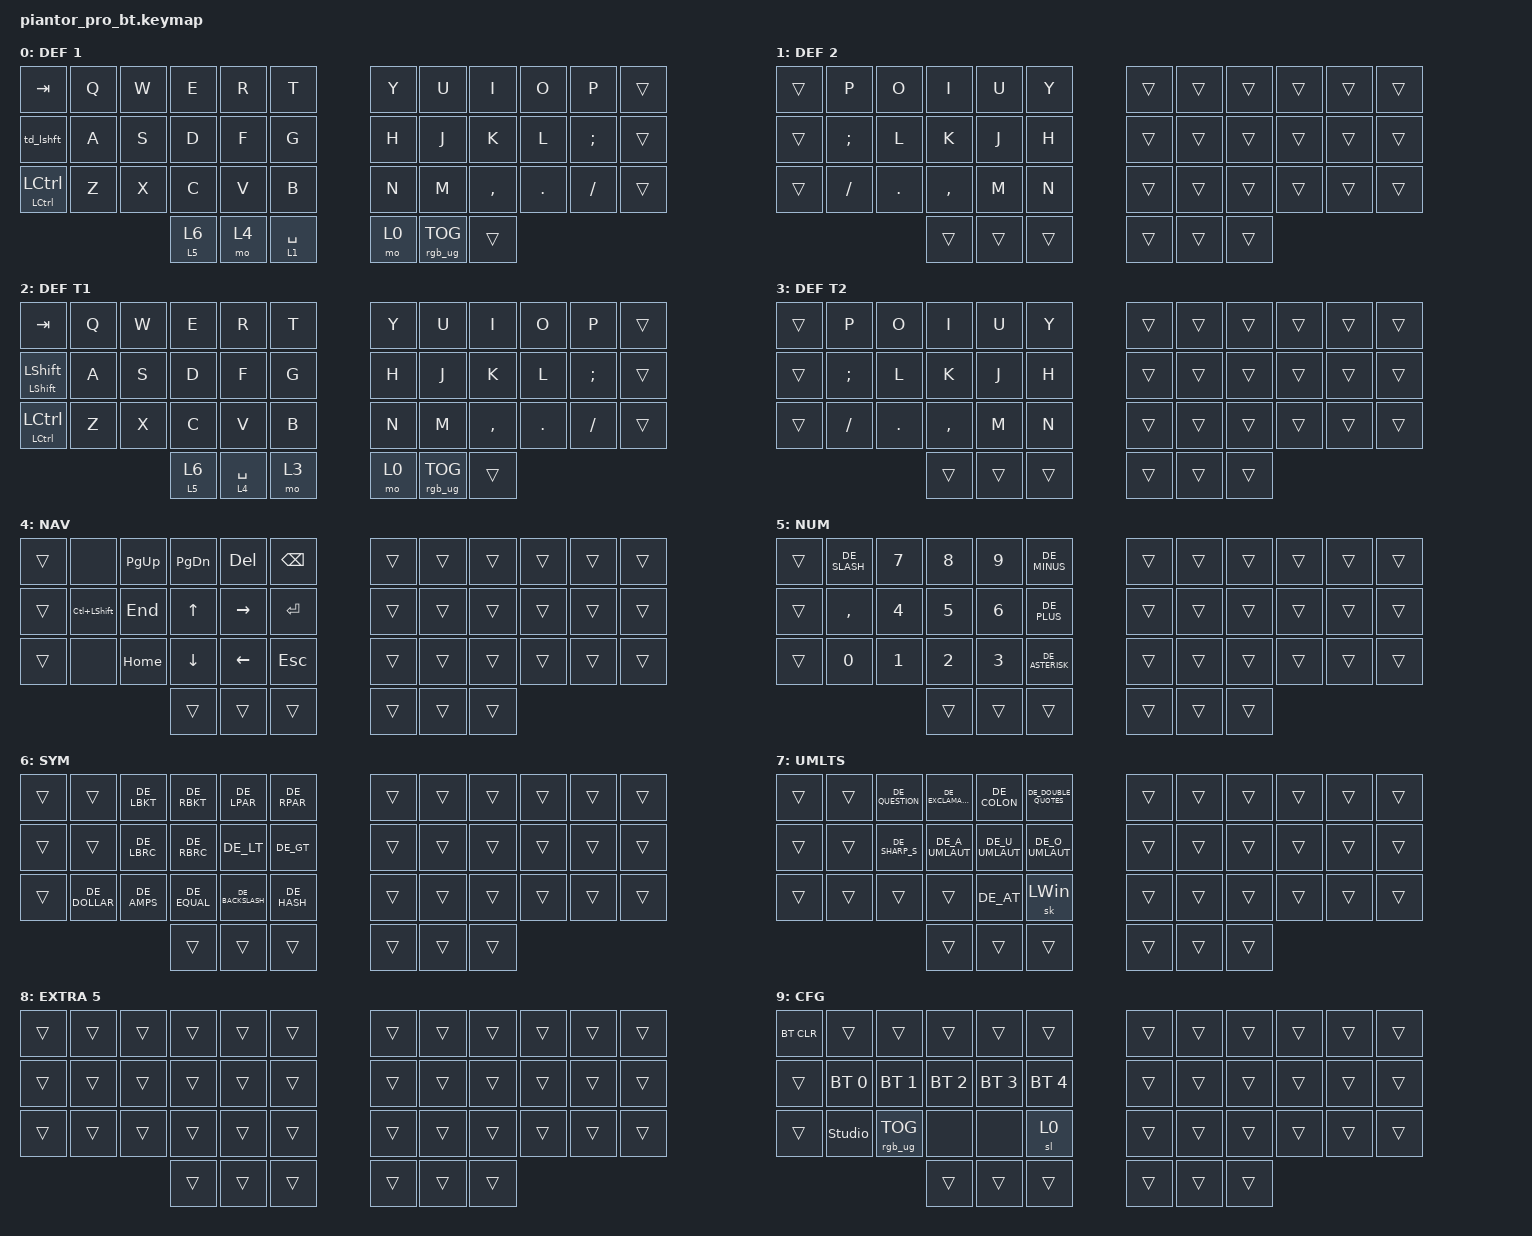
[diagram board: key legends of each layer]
/*
 * Copyright (c) 2020 The ZMK Contributors
 *
 * SPDX-License-Identifier: MIT
 */

#include <behaviors.dtsi>
#include <dt-bindings/zmk/bt.h>
#include <dt-bindings/zmk/keys.h>
#include <dt-bindings/zmk/rgb.h>
#include "keys_de.h"


/ {
    chosen { zmk,physical-layout = &default_layout; };
};

/ {
    behaviors {
        td_q_p: tap_dance_q_p {
            compatible = "zmk,behavior-tap-dance";
            #binding-cells = <0>;
            tapping-term-ms = <400>;
            bindings = <&kp Q>, <&kp P>;
        };

        td_w_o: tap_dance_w_o {
            compatible = "zmk,behavior-tap-dance";
            #binding-cells = <0>;
            tapping-term-ms = <400>;
            bindings = <&kp W>, <&kp O>;
        };

        td_e_i: tap_dance_e_i {
            compatible = "zmk,behavior-tap-dance";
            #binding-cells = <0>;
            tapping-term-ms = <400>;
            bindings = <&kp E>, <&kp I>;
        };

        td_r_u: tap_dance_r_u {
            compatible = "zmk,behavior-tap-dance";
            #binding-cells = <0>;
            tapping-term-ms = <400>;
            bindings = <&kp R>, <&kp U>;
        };

        td_t_y: tap_dance_t_y {
            compatible = "zmk,behavior-tap-dance";
            #binding-cells = <0>;
            tapping-term-ms = <400>;
            bindings = <&kp T>, <&kp Y>;
        };

        td_a_smi: tap_dance_a_semi {
            compatible = "zmk,behavior-tap-dance";
            #binding-cells = <0>;
            tapping-term-ms = <400>;
            bindings = <&kp A>, <&kp SEMI>;
        };

        td_s_l: tap_dance_s_l {
            compatible = "zmk,behavior-tap-dance";
            #binding-cells = <0>;
            tapping-term-ms = <400>;
            bindings = <&kp S>, <&kp L>;
        };

        td_d_k: tap_dance_d_k {
            compatible = "zmk,behavior-tap-dance";
            #binding-cells = <0>;
            tapping-term-ms = <400>;
            bindings = <&kp D>, <&kp K>;
        };

        td_f_j: tap_dance_f_j {
            compatible = "zmk,behavior-tap-dance";
            #binding-cells = <0>;
            tapping-term-ms = <400>;
            bindings = <&kp F>, <&kp J>;
        };

        td_g_h: tap_dance_g_h {
            compatible = "zmk,behavior-tap-dance";
            #binding-cells = <0>;
            tapping-term-ms = <400>;
            bindings = <&kp G>, <&kp H>;
        };

        td_z_fsl: tap_dance_z_fslh {
            compatible = "zmk,behavior-tap-dance";
            #binding-cells = <0>;
            tapping-term-ms = <400>;
            bindings = <&kp Z>, <&kp FSLH>;
        };

        td_x_dot: tap_dance_x_dot {
            compatible = "zmk,behavior-tap-dance";
            #binding-cells = <0>;
            tapping-term-ms = <400>;
            bindings = <&kp X>, <&kp DOT>;
        };

        td_c_cma: tap_dance_c_comma {
            compatible = "zmk,behavior-tap-dance";
            #binding-cells = <0>;
            tapping-term-ms = <400>;
            bindings = <&kp C>, <&kp COMMA>;
        };

        td_v_m: tap_dance_v_m {
            compatible = "zmk,behavior-tap-dance";
            #binding-cells = <0>;
            tapping-term-ms = <400>;
            bindings = <&kp V>, <&kp M>;
        };

        td_b_n: tap_dance_b_n {
            compatible = "zmk,behavior-tap-dance";
            #binding-cells = <0>;
            tapping-term-ms = <400>;
            bindings = <&kp B>, <&kp N>;
        };

        td_mo1_mo2: tap_dance_mod_select {
            compatible = "zmk,behavior-tap-dance";
            #binding-cells = <0>;
            tapping-term-ms = <400>;
            bindings = <&mo 1>, <&mo 2>;
        };

        td_spc_ent: tap_dance_space_enter {
            compatible = "zmk,behavior-tap-dance";
            #binding-cells = <0>;
            tapping-term-ms = <400>;
            bindings = <&kp SPACE>, <&kp RET>;
        };

        lt_non: layer_tap_none {
            compatible = "zmk,behavior-hold-tap";
            #binding-cells = <2>;
            flavor = "tap-preferred";
            tapping-term-ms = <200>;
            bindings = <&mo>, <&none>;
        };

        lt_rep: layer_tap_key_repeat {
            compatible = "zmk,behavior-hold-tap";
            #binding-cells = <2>;
            flavor = "tap-preferred";
            tapping-term-ms = <200>;
            bindings = <&mo>, <&key_repeat>;
        };

        lt_umlts: lt_umlts {
            compatible = "zmk,behavior-hold-tap";
            #binding-cells = <2>;
            flavor = "tap-preferred";
            tapping-term-ms = <250>;
            bindings = <&mo>, <&td_a_smi>;
        };

        mt_umlts: mt_umlts {
            compatible = "zmk,behavior-hold-tap";
            #binding-cells = <2>;
            flavor = "tap-preferred";
            tapping-term-ms = <180>;
            quick-tap-ms = <175>;
            require-prior-idle-ms = <150>;
            retro-tap;
            bindings = <&mo>, <&kp>;
        };

        st_l: st_l {
            compatible = "zmk,behavior-hold-tap";
            #binding-cells = <2>;
            flavor = "tap-preferred";
            tapping-term-ms = <200>;
            bindings = <&mo>, <&sl>;
        };

        sk_lng: sk_long {
            compatible = "zmk,behavior-sticky-key";
            bindings = <&kp>;
            #binding-cells = <1>;
            ignore-modifiers;
            release-after-ms = <2000>;
        };

        st: st {
            compatible = "zmk,behavior-hold-tap";
            #binding-cells = <2>;
            flavor = "tap-preferred";
            tapping-term-ms = <250>;
            bindings = <&kp>, <&sk_lng>;
        };

        sk_qr: sticky_key_quick_release {
        compatible = "zmk,behavior-sticky-key";
        #binding-cells = <1>;
        quick-release;
        release-after-ms = <2000>;
        bindings = <&kp>;
      };

        td_lshft: tap_dance_left_shift {
            compatible = "zmk,behavior-tap-dance";
            #binding-cells = <0>;
            tapping-term-ms = <400>;
            bindings = <&sk_qr LSHIFT>, <&caps_word>;
        };
    };

    combos {
        compatible = "zmk,combos";

        cfg_combo {
            bindings = <&sl 9>;
            key-positions = <2 3 4>;
        };

        Toggle_Default {
            bindings = <&tog 2>;
            key-positions = <36 38>;
        };

        // --- Umlaute & Sonderzeichen per Combo (ersetzen den alten A-Hold-Layer) ---
        // Nur auf den Basis-Layern 0 (DEF 1) und 2 (DEF T1) aktiv, damit sie NUM/SYM/NAV nicht stoeren.
        // timeout-ms=50: nur echtes Gleichzeitig-Druecken loest aus, normale Roll-Tippbewegungen nicht.
        combo_ae {   // ä  = S+D
            bindings = <&kp DE_A_UMLAUT>;
            key-positions = <14 15>;
            timeout-ms = <50>;
            layers = <0 2>;
        };
        combo_oe {   // ö  = D+F
            bindings = <&kp DE_O_UMLAUT>;
            key-positions = <15 16>;
            timeout-ms = <50>;
            layers = <0 2>;
        };
        combo_ue {   // ü  = F+G
            bindings = <&kp DE_U_UMLAUT>;
            key-positions = <16 17>;
            timeout-ms = <50>;
            layers = <0 2>;
        };
        combo_ss {   // ß  = X+C
            bindings = <&kp DE_SHARP_S>;
            key-positions = <26 27>;
            timeout-ms = <50>;
            layers = <0 2>;
        };
        combo_excl { // !  = H+J
            bindings = <&kp DE_EXCLAMATION>;
            key-positions = <18 19>;
            timeout-ms = <50>;
            layers = <0 2>;
        };
        combo_ques { // ?  = J+K
            bindings = <&kp DE_QUESTION>;
            key-positions = <19 20>;
            timeout-ms = <50>;
            layers = <0 2>;
        };
        combo_dquote { // "  = J+L
            bindings = <&kp DE_DOUBLE_QUOTES>;
            key-positions = <19 21>;
            timeout-ms = <50>;
            layers = <0 2>;
        };
        combo_colon { // :  = L+;
            bindings = <&kp DE_COLON>;
            key-positions = <21 22>;
            timeout-ms = <50>;
            layers = <0 2>;
        };
        combo_at {   // @  = H+K
            bindings = <&kp DE_AT>;
            key-positions = <18 20>;
            timeout-ms = <50>;
            layers = <0 2>;
        };
    };

    keymap {
        compatible = "zmk,keymap";

        default_layer_1 {
            display-name = "DEF 1";
            bindings = <
&kp TAB            &kp Q          &kp W  &kp E      &kp R  &kp T            &kp Y  &kp U            &kp I      &kp O    &kp P     &trans
&td_lshft          &kp A          &kp S  &kp D      &kp F  &kp G            &kp H  &kp J            &kp K      &kp L    &kp SEMI  &trans
&st LCTRL LCTRL    &kp Z          &kp X  &kp C      &kp V  &kp B            &kp N  &kp M            &kp COMMA  &kp DOT  &kp FSLH  &trans
                                         &st_l 5 6  &mo 4  &lt 1 SPACE      &mo 0  &rgb_ug RGB_TOG  &trans
            >;
        };

        default_layer_2 {
            display-name = "DEF 2";
            bindings = <
&trans  &kp P     &kp O    &kp I      &kp U   &kp Y       &trans  &trans  &trans  &trans  &trans  &trans
&trans  &kp SEMI  &kp L    &kp K      &kp J   &kp H       &trans  &trans  &trans  &trans  &trans  &trans
&trans  &kp FSLH  &kp DOT  &kp COMMA  &kp M   &kp N       &trans  &trans  &trans  &trans  &trans  &trans
                           &trans     &trans  &trans      &trans  &trans  &trans
            >;
        };

        default_layer_t1 {
            display-name = "DEF T1";
            bindings = <
&kp TAB            &kp Q          &kp W  &kp E      &kp R        &kp T      &kp Y  &kp U            &kp I      &kp O    &kp P     &trans  
&st LSHIFT LSHIFT  &kp A          &kp S  &kp D      &kp F        &kp G      &kp H  &kp J            &kp K      &kp L    &kp SEMI  &trans
&st LCTRL LCTRL    &kp Z          &kp X  &kp C      &kp V        &kp B      &kp N  &kp M            &kp COMMA  &kp DOT  &kp FSLH  &trans  
                                         &st_l 5 6  &lt 4 SPACE  &mo 3      &mo 0  &rgb_ug RGB_TOG  &trans
            >;
        };

        default_layer_t2 {
            display-name = "DEF T2";
            bindings = <
&trans  &kp P     &kp O    &kp I      &kp U   &kp Y       &trans  &trans  &trans  &trans  &trans  &trans
&trans  &kp SEMI  &kp L    &kp K      &kp J   &kp H       &trans  &trans  &trans  &trans  &trans  &trans
&trans  &kp FSLH  &kp DOT  &kp COMMA  &kp M   &kp N       &trans  &trans  &trans  &trans  &trans  &trans
                           &trans     &trans  &trans      &trans  &trans  &trans
            >;
        };

        nav_layer {
            display-name = "NAV";
            bindings = <
&trans  &none               &kp PG_UP  &kp PG_DN  &kp DELETE  &kp BACKSPACE      &trans  &trans  &trans  &trans  &trans  &trans
&trans  &kp LC(LEFT_SHIFT)  &kp END    &kp UP     &kp RIGHT   &kp ENTER          &trans  &trans  &trans  &trans  &trans  &trans
&trans  &none               &kp HOME   &kp DOWN   &kp LEFT    &kp ESCAPE         &trans  &trans  &trans  &trans  &trans  &trans
                                       &trans     &trans      &trans             &trans  &trans  &trans
            >;
        };

        number_layer {
            display-name = "NUM";
            bindings = <
&trans  &kp DE_SLASH  &kp N7  &kp N8  &kp N9  &kp DE_MINUS         &trans  &trans  &trans  &trans  &trans  &trans
&trans  &kp COMMA     &kp N4  &kp N5  &kp N6  &kp DE_PLUS          &trans  &trans  &trans  &trans  &trans  &trans
&trans  &kp N0        &kp N1  &kp N2  &kp N3  &kp DE_ASTERISK      &trans  &trans  &trans  &trans  &trans  &trans
                              &trans  &trans  &trans               &trans  &trans  &trans
            >;
        };

        symbol_layer {
            display-name = "SYM";
            bindings = <
&trans  &trans         &kp DE_LBKT  &kp DE_RBKT   &kp DE_LPAR       &kp DE_RPAR      &trans  &trans  &trans  &trans  &trans  &trans
&trans  &trans         &kp DE_LBRC  &kp DE_RBRC   &kp DE_LT         &kp DE_GT        &trans  &trans  &trans  &trans  &trans  &trans
&trans  &kp DE_DOLLAR  &kp DE_AMPS  &kp DE_EQUAL  &kp DE_BACKSLASH  &kp DE_HASH      &trans  &trans  &trans  &trans  &trans  &trans
                                    &trans        &trans            &trans           &trans  &trans  &trans
            >;
        };

        umlauts_layer {
            display-name = "UMLTS";
            bindings = <
&trans  &trans  &kp DE_QUESTION  &kp DE_EXCLAMATION  &kp DE_COLON     &kp DE_DOUBLE_QUOTES      &trans  &trans  &trans  &trans  &trans  &trans  
&trans  &trans  &kp DE_SHARP_S   &kp DE_A_UMLAUT     &kp DE_U_UMLAUT  &kp DE_O_UMLAUT           &trans  &trans  &trans  &trans  &trans  &trans
&trans  &trans  &trans           &trans              &kp DE_AT        &sk LEFT_WIN              &trans  &trans  &trans  &trans  &trans  &trans
                                 &trans              &trans           &trans                    &trans  &trans  &trans
            >;
        };

        extra_layer_5 {
            display-name = "EXTRA 5";
            bindings = <
&trans  &trans  &trans  &trans  &trans  &trans      &trans  &trans  &trans  &trans  &trans  &trans
&trans  &trans  &trans  &trans  &trans  &trans      &trans  &trans  &trans  &trans  &trans  &trans
&trans  &trans  &trans  &trans  &trans  &trans      &trans  &trans  &trans  &trans  &trans  &trans
                        &trans  &trans  &trans      &trans  &trans  &trans
            >;
        };

        config_layer {
            display-name = "CFG";
            bindings = <
&bt BT_CLR  &trans          &trans           &trans        &trans        &trans            &trans  &trans  &trans  &trans  &trans  &trans
&trans      &bt BT_SEL 0    &bt BT_SEL 1     &bt BT_SEL 2  &bt BT_SEL 3  &bt BT_SEL 4      &trans  &trans  &trans  &trans  &trans  &trans
&trans      &studio_unlock  &rgb_ug RGB_TOG  &none         &none         &sl 0             &trans  &trans  &trans  &trans  &trans  &trans
                                             &trans        &trans        &trans            &trans  &trans  &trans
            >;
        };
    };
};
